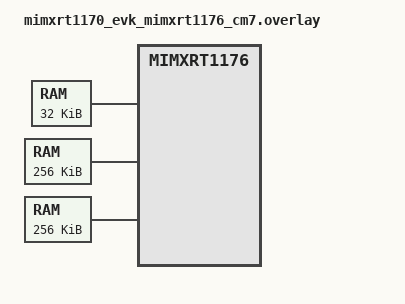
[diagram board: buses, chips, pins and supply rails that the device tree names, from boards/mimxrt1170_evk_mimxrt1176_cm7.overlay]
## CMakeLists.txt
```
# Copyright 2026 NXP
#
# SPDX-License-Identifier: Apache-2.0

cmake_minimum_required(VERSION 3.20.0)
find_package(Zephyr REQUIRED HINTS $ENV{ZEPHYR_BASE})
project(cam_disp_multicore)

if(CONFIG_SAMPLE_INCLUDE_REMOTE_DIR)
  target_include_directories(zephyr_interface
    INTERFACE ${CMAKE_CURRENT_BINARY_DIR}/../remote/zephyr/include/public)
endif()

# The pipeline is described in pipeline.dtsi: the application has no code
target_sources(app PRIVATE ${ZEPHYR_BASE}/misc/empty_file.c)
```

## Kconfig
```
# Copyright 2026 NXP
# SPDX-License-Identifier: Apache-2.0

mainmenu "Camera on one core, display on the other, described in the devicetree"

config SAMPLE_INCLUDE_REMOTE_DIR
	bool "Include remote core header directory"
	help
	  Include remote build header files. Can be used if primary image
	  needs to be aware of size or base address of secondary image

source "Kconfig.zephyr"
```

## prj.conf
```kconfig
CONFIG_LOG=y

CONFIG_MAIN_STACK_SIZE=4096
CONFIG_HEAP_MEM_POOL_SIZE=16384

CONFIG_MPIPE=y
CONFIG_MPIPE_STRUCTURE_MAX_FIELDS=3
# The frame on screen, the one in flight and one to spare
CONFIG_MPIPE_NET_BUF_POOL_COUNT=3
CONFIG_MPIPE_RPC=y
CONFIG_MPIPE_ERPC=y
CONFIG_MPIPE_BASE=y
CONFIG_MPIPE_BASE_CAPS_FILTER=y
CONFIG_MPIPE_VID=y
CONFIG_MPIPE_DISP=y
CONFIG_MPIPE_PLAYER=y
# The source negotiates from the player's thread, across the cores
CONFIG_MPIPE_PLAYER_WORKER_STACK_SIZE=8192

# eRPC over the IPC service, one channel, nothing from the heap
CONFIG_ERPC=y
CONFIG_ERPC_TRANSPORT_IPC_SERVICE=y
CONFIG_ERPC_ALLOCATION_POLICY_STATIC=y
CONFIG_ERPC_CODEC_COUNT=1
CONFIG_ERPC_DEFAULT_BUFFER_SIZE=4096

# RPMsg-Lite
CONFIG_RL_API_HAS_ZEROCOPY=y
CONFIG_RL_USE_STATIC_API=y
CONFIG_TIMESLICE_SIZE=1

# The bus carries end-of-stream and errors, never data: it needs neither
# zbus priority boost nor zbus logging of its own.
CONFIG_ZBUS_PRIORITY_BOOST=n
CONFIG_ZBUS_LOG_LEVEL_ERR=y
```

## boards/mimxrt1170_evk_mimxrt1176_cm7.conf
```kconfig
# The frames the other core fills: 320x240 RGB565 is 153600 bytes. One is
# being filled and the display holds the others.
CONFIG_VIDEO_BUFFER_POOL_NUM_MAX=3
CONFIG_VIDEO_BUFFER_POOL_HEAP_SIZE=471040

# Both cores access the frames: keep them out of the M7 caches
CONFIG_VIDEO_BUFFER_POOL_ZEPHYR_REGION=y
CONFIG_VIDEO_BUFFER_POOL_ZEPHYR_REGION_NAME="OCRAM1"

CONFIG_SAMPLE_INCLUDE_REMOTE_DIR=y
CONFIG_SECOND_CORE_MCUX=y

# The frame is smaller than the panel: display_write() needs a framebuffer
CONFIG_MCUX_LCDIFV2_FB_NUM=1
```

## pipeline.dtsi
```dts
/*
 * Copyright 2026 NXP
 *
 * SPDX-License-Identifier: Apache-2.0
 */

/* The frames of a video source the other core owns, displayed here */
/ {
	/* What the source client calls the remote core through */
	camera_channel: camera-channel {
		compatible = "zephyr,mpipe-erpc-channel";
		endpoint = "mpipe_cam";
	};

	pipeline {
		compatible = "zephyr,mpipe-pipeline";
		autostart;

		/* The source runs on the remote core; this element is its client */
		camera_src: vid-src {
			compatible = "zephyr,mpipe-vid-src-client";
			channel = <&camera_channel>;
		};

		/* The frames must fit in the memory the two cores share */
		frame_filter: caps-filter {
			compatible = "zephyr,mpipe-caps-filter";
			sources = <&camera_src>;
			media = "video";
			pixel-format = "RGBP";
			width = <320>;
			height = <240>;
		};

		disp-sink {
			compatible = "zephyr,mpipe-disp-sink";
			sources = <&frame_filter>;
		};
	};
};
```

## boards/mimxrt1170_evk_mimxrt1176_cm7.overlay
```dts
/*
 * Copyright 2026 NXP
 *
 * SPDX-License-Identifier: Apache-2.0
 */

#include <zephyr/dt-bindings/ipc_service/static_vrings.h>
#include <zephyr/dt-bindings/memory-attr/memory-attr-arm.h>

/ {
	aliases {
		/* The IPC instance eRPC runs over */
		erpc-ipc = &ipc0;
	};

	chosen {
		/* Delete ipc chosen property where old IPM mailbox driver below is
		 * configured.
		 */
		/delete-property/ zephyr,ipc;
		/delete-property/ zephyr,ipc_shm;
	};

	/* Define memory regions for IPC
	 * Note that shared memory must have specific MPU attributes set.
	 */
	ocram2_ipc0: memory@202c0000 {
		compatible = "zephyr,memory-region", "mmio-sram";
		reg = <0x202c0000 DT_SIZE_K(32)>;
		zephyr,memory-region = "OCRAM2_IPC0";
		zephyr,memory-attr = <DT_MEM_ARM(ATTR_MPU_IO)>;
	};

	/*
	 * The video frames live in OCRAM1 and are read by the remote core, so
	 * the M7 must not cache them. The MPU anchors a region at a multiple
	 * of its size and OCRAM1 is 512K at a 256K-aligned address: cover it
	 * with two 256K regions.
	 */
	ocram1_nocache_lo: memory@20240000 {
		compatible = "zephyr,memory-region", "mmio-sram";
		reg = <0x20240000 DT_SIZE_K(256)>;
		zephyr,memory-region = "OCRAM1_NOCACHE_LO";
		zephyr,memory-attr = <DT_MEM_ARM_MPU_RAM_NOCACHE>;
	};

	ocram1_nocache_hi: memory@20280000 {
		compatible = "zephyr,memory-region", "mmio-sram";
		reg = <0x20280000 DT_SIZE_K(256)>;
		zephyr,memory-region = "OCRAM1_NOCACHE_HI";
		zephyr,memory-attr = <DT_MEM_ARM_MPU_RAM_NOCACHE>;
	};

	soc {
		/* Delete IPM Driver node nxp,imx-mu */
		/delete-node/ mailbox@40c48000;

		/* Attach MBOX driver to MU Unit */
		mbox: mbox@40c48000 {
			compatible = "nxp,mbox-imx-mu";
			reg = <0x40c48000 0x4000>;
			interrupts = <118 0>;
			rx-channels = <4>;
			#mbox-cells = <1>;
			status = "okay";
		};
	};

	ipc {
		/delete-node/ ipc0;

		ipc0: ipc0 {
			compatible = "nxp,ipc-rpmsg-lite";
			memory-region = <&ocram2_ipc0>;
			/* With ipc-rpmsg-lite we can reuse same MBOX channel per IPC instance */
			mboxes = <&mbox 2>, <&mbox 3>;
			mbox-names = "tx", "rx";
			link-id = <0>;
			role = "host";
			buffer-size = <512>;
			buffer-count = <2>;
			status = "okay";
		};
	};
};

#include "../pipeline.dtsi"
```

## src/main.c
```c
/*
 * Copyright 2026 NXP
 *
 * SPDX-License-Identifier: Apache-2.0
 */

/*
 * The frames of a video source the other core owns, displayed here:
 *
 *   vid_src_client -> caps_filter -> disp_sink
 *
 * The source element is the client of a pipeline of the other core, which
 * starts with the real source. See remote/src/main.c.
 */

#include <zephyr/drivers/video.h>
#include <zephyr/kernel.h>
#include <zephyr/logging/log.h>

#include <zephyr/mpipe/mpipe.h>
#include <zephyr/mpipe/base/mpipe_caps_filter.h>
#include <zephyr/mpipe/disp/mpipe_disp_sink.h>
#include <zephyr/mpipe/erpc/mpipe_erpc_vid.h>
#include <zephyr/mpipe/utils/mpipe_player.h>
#include <zephyr/mpipe/vid/mpipe_vid_src_client.h>

LOG_MODULE_REGISTER(main, CONFIG_LOG_DEFAULT_LEVEL);

/* Element IDs (values are arbitrary; only uniqueness within the pipeline matters) */
enum {
	PIPE_ID,
	VID_SRC_ID,
	CAPS_FILTER_ID,
	DISP_SINK_ID,
};

/* IPC endpoint of the source: the other core serves the same name */
#define CAM_ENDPOINT "mpipe_cam"

int main(void)
{
	static struct mpipe pipe;
	/* The source runs on the other core; this element is its client */
	static struct mpipe_vid_src_client vid_src;
	static struct mpipe_caps_filter caps_filter;
	static struct mpipe_disp_sink disp_sink;
	static struct mpipe_player player;
	struct mpipe_vid_rpc_channel cam_channel;
	struct mpipe_structure caps;
	int ret;

	ret = mpipe_pipeline_init(&pipe, PIPE_ID);
	if (ret < 0) {
		goto err;
	}

	/* The source is reached through an eRPC channel; its init waits for the server */
	ret = mpipe_erpc_vid_channel_get(CAM_ENDPOINT, 0U, &cam_channel);
	if (ret < 0) {
		goto err;
	}
	ret = mpipe_vid_src_client_init(&vid_src, VID_SRC_ID, &cam_channel);
	if (ret < 0) {
		goto err;
	}
	ret = mpipe_caps_filter_init(&caps_filter, CAPS_FILTER_ID);
	if (ret < 0) {
		goto err;
	}
	ret = mpipe_disp_sink_init(&disp_sink, DISP_SINK_ID);
	if (ret < 0) {
		goto err;
	}

	/* The frames must fit in the memory the two cores share */
	ret = mpipe_structure_init_fields(
		&caps, MPIPE_MEDIA_VIDEO, MPIPE_CAPS_PIXEL_FORMAT, MPIPE_TYPE_UINT,
		VIDEO_PIX_FMT_RGB565, MPIPE_CAPS_IMAGE_WIDTH, MPIPE_TYPE_UINT,
		CONFIG_VIDEO_FRAME_WIDTH, MPIPE_CAPS_IMAGE_HEIGHT, MPIPE_TYPE_UINT,
		CONFIG_VIDEO_FRAME_HEIGHT, MPIPE_CAPS_END);
	if (ret != 0) {
		goto err;
	}
	ret = mpipe_object_set_properties((struct mpipe_object *)&caps_filter,
					  MPIPE_PROP_BASE_CAPS_FILTER_CAPS, &caps,
					  MPIPE_PROP_LIST_END);
	if (ret < 0) {
		goto err;
	}

	ret = mpipe_bin_add((struct mpipe_bin *)&pipe, (struct mpipe_element *)&vid_src,
			    (struct mpipe_element *)&caps_filter,
			    (struct mpipe_element *)&disp_sink, NULL);
	if (ret < 0) {
		LOG_ERR("Failed to add elements (%d)", ret);
		goto err;
	}

	ret = mpipe_element_link((struct mpipe_element *)&vid_src,
				 (struct mpipe_element *)&caps_filter,
				 (struct mpipe_element *)&disp_sink, NULL);
	if (ret < 0) {
		LOG_ERR("Failed to link elements (%d)", ret);
		goto err;
	}

	LOG_INF("Pipeline linked.");

	ret = mpipe_player_init(&player, &pipe);
	if (ret != 0) {
		LOG_ERR("Failed to init player (%d)", ret);
		goto err;
	}

	(void)mpipe_player_play(&player);
	(void)mpipe_player_wait_quit(&player);
	(void)mpipe_player_deinit(&player);

	return 0;

err:
	LOG_ERR("Aborting sample");
	return 0;
}
```
